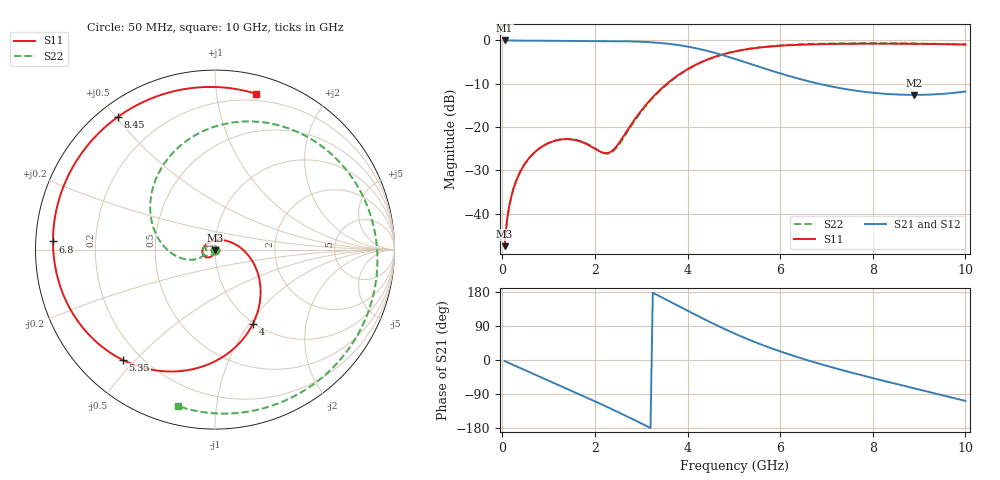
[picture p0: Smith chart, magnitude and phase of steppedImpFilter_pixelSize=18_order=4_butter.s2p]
! freq	dB(S11)	phase(S11)	dB(S12)	phase(S12)
!  dB(S21)	phase(S21)	dB(S22)	phase(S22)
!S-par simulation data
#  GHz  S  DB  R 50
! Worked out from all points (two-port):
!   200 points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, 50 MHz to 10 GHz, reference 50 ohm
!   highest |S21| = 0.00 dB at 50 MHz (marker M1); lowest = -12.6 dB at 8.9 GHz (marker M2)
!   |S21| within 3 dB of the highest: start of sweep to 4.631 GHz
!   lowest |S11| = -47.5 dB at 50 MHz (marker M3), VSWR 1.01, Z = 50 - j0.421 ohm
!   |S11| at or under -10 dB: start of sweep to 3.556 GHz
!   |S22| runs from -47.5 to -0.6 dB; largest |S21 - S12| = 0
!   S11 on the Smith chart (normalised r, x): 50 MHz: 1.00, -0.01; 4 GHz: 0.99, -1.04; 5.35 GHz: 0.13, -0.46; 6.8 GHz: 0.05, +0.02; 8.45 GHz: 0.05, +0.51; 10 GHz: 0.14, +1.28
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0.05  -47.50 -90.2  -0.00 -2.8  -0.00 -2.8  -47.52 -91.0
0.1  -41.66 -93.5  -0.01 -5.5  -0.01 -5.5  -41.67 -95.0
0.2  -35.80 -99.2  -0.02 -10.9  -0.02 -10.9  -35.81 -102.3
0.35  -31.15 -107.0  -0.03 -19.0  -0.03 -19.0  -31.16 -112.2
0.55  -27.58 -116.9  -0.04 -29.8  -0.04 -29.8  -27.57 -124.9
1.2  -23.01 -150.2  -0.09 -65.0  -0.09 -65.0  -22.96 -163.2
1.75  -23.60 173.1  -0.12 -95.1  -0.12 -95.1  -23.49 172.1
2.35  -25.67 85.8  -0.16 -128.9  -0.16 -128.9  -25.94 -169.8
2.9  -17.64 8.5  -0.27 -161.2  -0.27 -161.2  -17.94 -154.2
3.4  -11.48 -27.8  -0.57 168.1  -0.57 168.1  -11.66 -179.0
4  -6.64 -63.1  -1.42 130.1  -1.42 130.1  -6.73 140.9
4.45  -4.33 -87.4  -2.48 102.2  -2.48 102.2  -4.37 109.8
5.05  -2.48 -116.7  -4.36 68.0  -4.36 68.0  -2.47 71.1
5.35  -1.93 -129.9  -5.39 52.5  -5.39 52.5  -1.89 53.6
6  -1.23 -155.4  -7.61 22.7  -7.61 22.7  -1.16 20.4
6.7  -0.90 -179.6  -9.67 -4.6  -9.67 -4.6  -0.80 -9.3
6.8  -0.88 177.1  -9.92 -8.2  -9.92 -8.2  -0.77 -13.1
7.55  -0.77 153.6  -11.47 -33.5  -11.47 -33.5  -0.65 -38.9
8.35  -0.76 129.1  -12.39 -58.4  -12.39 -58.4  -0.65 -62.3
8.45  -0.76 126.0  -12.45 -61.4  -12.45 -61.4  -0.65 -65.0
8.9  -0.78 112.0  -12.57 -74.9  -12.57 -74.9  -0.70 -76.8
10  -0.94 75.4  -11.79 -108.0  -11.79 -108.0  -0.95 -103.4
